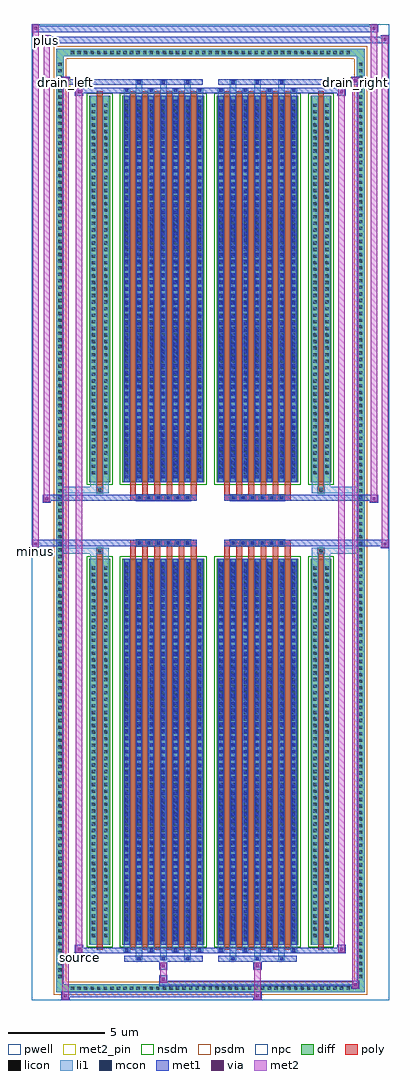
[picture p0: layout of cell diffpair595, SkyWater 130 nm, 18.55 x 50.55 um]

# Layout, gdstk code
import gdstk
lib = gdstk.Library(unit=1e-6, precision=5e-09)
def R(c, l, rs):  # rectangles x0, y0, x1, y1
    for r in rs: c.add(gdstk.rectangle(r[:2], r[2:], *l))
def A(c, l, x, y, w, h, nx, ny, dx, dy):  # array of equal rectangles
    R(c, l, [(x+i*dx, y+j*dy, x+i*dx+w, y+j*dy+h) for i in range(nx) for j in range(ny)])
def P(c, l, *ps):  # polygons
    for p in ps: c.add(gdstk.Polygon(p, *l))
pwell = (64, 44)
diff = (65, 20)
poly = (66, 20)
licon = (66, 44)
li1 = (67, 20)
mcon = (67, 44)
met1 = (68, 20)
via = (68, 44)
met2_pin = (69, 16)
met2 = (69, 20)
nsdm = (93, 44)
psdm = (94, 20)
npc = (95, 20)

diffpair595 = lib.new_cell('diffpair595')
R(diffpair595, pwell, [(-9.26,-24.84,9.26,25.71), (-6.58,-23.03,-0.01,-0.805), (0.01,-23.03,6.58,-0.805), (-6.58,0.805,-0.01,23.03), (0.01,0.805,6.58,23.03)])
A(diffpair595, diff, -7.345, -24.44, 0.41, 0.41, 43, 2, 0.34, 48.47)
A(diffpair595, diff, -7.99, -23.835, 0.41, 0.41, 1, 140, 0, 0.34)
A(diffpair595, diff, 7.58, -23.835, 0.41, 0.41, 1, 140, 0, 0.34)
R(diffpair595, diff, [(-7.345,-24.44,7.345,-24.03), (-7.99,-23.835,-7.58,23.835), (7.58,-23.835,7.99,23.835), (-6.27,-21.985,-5.19,-1.985), (-4.55,-21.985,-0.32,-1.985), (0.32,-21.985,4.55,-1.985), (5.19,-21.985,6.27,-1.985), (-6.27,1.985,-5.19,21.985), (-4.55,1.985,-0.32,21.985), (0.32,1.985,4.55,21.985), (5.19,1.985,6.27,21.985), (-7.345,24.03,7.345,24.44)])
P(diffpair595, diff, [(7.99,24.44),(-7.99,24.44),(-7.99,-24.03),(-7.58,-24.03),(-7.58,24.03),(7.58,24.03),(7.58,-24.03),(-7.58,-24.03),(-7.99,-24.03),(-7.99,-24.44),(7.99,-24.44)])
A(diffpair595, poly, -4.16, -22.235, 0.3, 20.5, 6, 2, 0.63, 23.97)
A(diffpair595, poly, 0.71, -22.235, 0.3, 20.5, 6, 2, 0.63, 23.97)
A(diffpair595, poly, -4.16, -1.735, 0.3, 0.4, 6, 2, 0.63, 3.07)
A(diffpair595, poly, 0.71, -1.735, 0.3, 0.4, 6, 2, 0.63, 3.07)
A(diffpair595, poly, -3.85, -1.335, 0.33, 0.33, 6, 2, 0.5, 2.34)
A(diffpair595, poly, 1.02, -1.335, 0.33, 0.33, 6, 2, 0.5, 2.34)
R(diffpair595, poly, [(-5.88,-22.235,-5.58,-1.735), (5.58,-22.235,5.88,-1.735), (-5.895,-1.735,-5.565,-1.405), (-5.895,-1.735,-5.565,-1.405), (5.565,-1.735,5.895,-1.405), (5.565,-1.735,5.895,-1.405), (-4.16,-1.335,-0.71,-1.005), (0.71,-1.335,4.16,-1.005), (-4.16,1.005,-0.71,1.335), (0.71,1.005,4.16,1.335), (-5.895,1.405,-5.565,1.735), (-5.895,1.405,-5.565,1.735), (5.565,1.405,5.895,1.735), (5.565,1.405,5.895,1.735), (-5.88,1.735,-5.58,22.235), (5.58,1.735,5.88,22.235)])
A(diffpair595, licon, -7.225, -24.32, 0.17, 0.17, 43, 2, 0.34, 48.47)
A(diffpair595, licon, -7.87, -23.715, 0.17, 0.17, 1, 140, 0, 0.34)
A(diffpair595, licon, 7.7, -23.715, 0.17, 0.17, 1, 140, 0, 0.34)
A(diffpair595, licon, -6.13, -21.59, 0.17, 0.17, 1, 57, 0, 0.34)
A(diffpair595, licon, -5.5, -21.59, 0.17, 0.17, 1, 57, 0, 0.34)
A(diffpair595, licon, -4.41, -21.59, 0.17, 0.17, 7, 57, 0.63, 0.34)
A(diffpair595, licon, 0.46, -21.59, 0.17, 0.17, 7, 57, 0.63, 0.34)
A(diffpair595, licon, 5.33, -21.59, 0.17, 0.17, 1, 57, 0, 0.34)
A(diffpair595, licon, 5.96, -21.59, 0.17, 0.17, 1, 57, 0, 0.34)
A(diffpair595, licon, -3.77, -1.255, 0.17, 0.17, 6, 2, 0.5, 2.34)
A(diffpair595, licon, 1.1, -1.255, 0.17, 0.17, 6, 2, 0.5, 2.34)
A(diffpair595, licon, -6.13, 2.38, 0.17, 0.17, 1, 57, 0, 0.34)
A(diffpair595, licon, -5.5, 2.38, 0.17, 0.17, 1, 57, 0, 0.34)
A(diffpair595, licon, -4.41, 2.38, 0.17, 0.17, 7, 57, 0.63, 0.34)
A(diffpair595, licon, 0.46, 2.38, 0.17, 0.17, 7, 57, 0.63, 0.34)
A(diffpair595, licon, 5.33, 2.38, 0.17, 0.17, 1, 57, 0, 0.34)
A(diffpair595, licon, 5.96, 2.38, 0.17, 0.17, 1, 57, 0, 0.34)
R(diffpair595, licon, [(-5.815,-1.655,-5.645,-1.485), (5.645,-1.655,5.815,-1.485), (-5.815,1.485,-5.645,1.655), (5.645,1.485,5.815,1.655)])
A(diffpair595, li1, -7.305, -24.4, 0.33, 0.33, 43, 2, 0.34, 48.47)
A(diffpair595, li1, -7.95, -23.795, 0.33, 0.33, 1, 140, 0, 0.34)
A(diffpair595, li1, 7.62, -23.795, 0.33, 0.33, 1, 140, 0, 0.34)
A(diffpair595, li1, -3.86, -22.79, 0.33, 0.805, 3, 2, 1.26, 44.775)
A(diffpair595, li1, -3.78, -22.79, 0.17, 0.17, 3, 2, 1.26, 45.41)
A(diffpair595, li1, 1.01, -22.79, 0.33, 0.805, 3, 2, 1.26, 44.775)
A(diffpair595, li1, 1.09, -22.79, 0.17, 0.17, 3, 2, 1.26, 45.41)
A(diffpair595, li1, -4.49, -22.36, 0.33, 0.375, 4, 2, 1.26, 44.345)
A(diffpair595, li1, -4.41, -22.36, 0.17, 0.17, 4, 2, 1.26, 44.55)
A(diffpair595, li1, 0.38, -22.36, 0.33, 0.375, 4, 2, 1.26, 44.345)
A(diffpair595, li1, 0.46, -22.36, 0.17, 0.17, 4, 2, 1.26, 44.55)
A(diffpair595, li1, -4.49, -21.985, 0.33, 20, 7, 2, 0.63, 23.97)
A(diffpair595, li1, 0.38, -21.985, 0.33, 20, 7, 2, 0.63, 23.97)
A(diffpair595, li1, -4.41, -21.79, 0.17, 0.17, 7, 55, 0.63, 0.36)
A(diffpair595, li1, -4.41, -21.79, 0.17, 19.61, 7, 2, 0.63, 23.97)
A(diffpair595, li1, 0.46, -21.79, 0.17, 0.17, 7, 55, 0.63, 0.36)
A(diffpair595, li1, 0.46, -21.79, 0.17, 19.61, 7, 2, 0.63, 23.97)
A(diffpair595, li1, -6.21, -21.67, 0.33, 0.33, 1, 57, 0, 0.34)
A(diffpair595, li1, -5.58, -21.67, 0.33, 0.33, 1, 57, 0, 0.34)
A(diffpair595, li1, -4.49, -21.67, 0.33, 0.33, 7, 57, 0.63, 0.34)
A(diffpair595, li1, 0.38, -21.67, 0.33, 0.33, 7, 57, 0.63, 0.34)
A(diffpair595, li1, 5.25, -21.67, 0.33, 0.33, 1, 57, 0, 0.34)
A(diffpair595, li1, 5.88, -21.67, 0.33, 0.33, 1, 57, 0, 0.34)
A(diffpair595, li1, -3.85, -1.335, 0.33, 0.33, 6, 2, 0.5, 2.34)
A(diffpair595, li1, 1.02, -1.335, 0.33, 0.33, 6, 2, 0.5, 2.34)
A(diffpair595, li1, -4.41, 2.18, 0.17, 0.17, 7, 55, 0.63, 0.36)
A(diffpair595, li1, 0.46, 2.18, 0.17, 0.17, 7, 55, 0.63, 0.36)
A(diffpair595, li1, -6.21, 2.3, 0.33, 0.33, 1, 57, 0, 0.34)
A(diffpair595, li1, -5.58, 2.3, 0.33, 0.33, 1, 57, 0, 0.34)
A(diffpair595, li1, -4.49, 2.3, 0.33, 0.33, 7, 57, 0.63, 0.34)
A(diffpair595, li1, 0.38, 2.3, 0.33, 0.33, 7, 57, 0.63, 0.34)
A(diffpair595, li1, 5.25, 2.3, 0.33, 0.33, 1, 57, 0, 0.34)
A(diffpair595, li1, 5.88, 2.3, 0.33, 0.33, 1, 57, 0, 0.34)
R(diffpair595, li1, [(-7.99,-24.44,-7.58,-24.03), (-7.99,-24.44,-7.58,-24.03), (-7.58,-24.44,7.58,-24.03), (7.58,-24.44,7.99,-24.03), (7.58,-24.44,7.99,-24.03), (-7.99,-24.03,-7.58,24.03), (7.58,-24.03,7.99,24.03), (-6.21,-21.985,-5.88,-1.985), (-5.58,-21.985,-5.25,-1.985), (5.25,-21.985,5.58,-1.985), (5.88,-21.985,6.21,-1.985), (-6.21,-1.985,-5.88,-1.405), (-5.58,-1.985,-5.25,-1.405), (5.25,-1.985,5.58,-1.405), (5.88,-1.985,6.21,-1.405), (-7.99,-1.735,-5.895,-1.405), (-6.21,-1.735,-5.895,-1.405), (-5.895,-1.735,-5.565,-1.405), (-5.565,-1.735,-5.25,-1.405), (5.25,-1.735,5.565,-1.405), (5.565,-1.735,5.895,-1.405), (5.565,-1.735,7.99,-1.405), (5.895,-1.735,6.21,-1.405), (-7.99,1.405,-5.895,1.735), (-6.21,1.405,-5.895,1.735), (-6.21,1.405,-5.88,1.985), (-5.895,1.405,-5.565,1.735), (-5.58,1.405,-5.25,1.985), (-5.565,1.405,-5.25,1.735), (5.25,1.405,5.565,1.735), (5.25,1.405,5.58,1.985), (5.565,1.405,5.895,1.735), (5.565,1.405,7.99,1.735), (5.88,1.405,6.21,1.985), (5.895,1.405,6.21,1.735), (-6.21,1.985,-5.88,21.985), (-5.58,1.985,-5.25,21.985), (5.25,1.985,5.58,21.985), (5.88,1.985,6.21,21.985), (-7.99,24.03,-7.58,24.44), (-7.99,24.03,-7.58,24.44), (-7.58,24.03,7.58,24.44), (7.58,24.03,7.99,24.44), (7.58,24.03,7.99,24.44)])
A(diffpair595, mcon, -3.78, -22.79, 0.17, 0.17, 3, 2, 1.26, 45.41)
A(diffpair595, mcon, 1.09, -22.79, 0.17, 0.17, 3, 2, 1.26, 45.41)
A(diffpair595, mcon, -4.41, -22.36, 0.17, 0.17, 4, 2, 1.26, 44.55)
A(diffpair595, mcon, 0.46, -22.36, 0.17, 0.17, 4, 2, 1.26, 44.55)
A(diffpair595, mcon, -4.41, -21.79, 0.17, 0.17, 7, 55, 0.63, 0.36)
A(diffpair595, mcon, 0.46, -21.79, 0.17, 0.17, 7, 55, 0.63, 0.36)
A(diffpair595, mcon, -3.77, -1.255, 0.17, 0.17, 6, 2, 0.5, 2.34)
A(diffpair595, mcon, 1.1, -1.255, 0.17, 0.17, 6, 2, 0.5, 2.34)
A(diffpair595, mcon, -4.41, 2.18, 0.17, 0.17, 7, 55, 0.63, 0.36)
A(diffpair595, mcon, 0.46, 2.18, 0.17, 0.17, 7, 55, 0.63, 0.36)
A(diffpair595, met1, -3.84, -22.85, 0.29, 0.29, 3, 2, 1.26, 45.41)
A(diffpair595, met1, 1.03, -22.85, 0.29, 0.29, 3, 2, 1.26, 45.41)
A(diffpair595, met1, -4.47, -22.42, 0.29, 0.29, 4, 2, 1.26, 44.55)
A(diffpair595, met1, 0.4, -22.42, 0.29, 0.29, 4, 2, 1.26, 44.55)
A(diffpair595, met1, -4.47, -21.985, 0.29, 20, 7, 2, 0.63, 23.97)
A(diffpair595, met1, 0.4, -21.985, 0.29, 20, 7, 2, 0.63, 23.97)
A(diffpair595, met1, -4.47, -21.85, 0.29, 0.29, 7, 55, 0.63, 0.36)
A(diffpair595, met1, 0.4, -21.85, 0.29, 0.29, 7, 55, 0.63, 0.36)
A(diffpair595, met1, -3.83, -1.315, 0.29, 0.29, 6, 2, 0.5, 2.34)
A(diffpair595, met1, 1.04, -1.315, 0.29, 0.29, 6, 2, 0.5, 2.34)
A(diffpair595, met1, -4.47, 2.12, 0.29, 0.29, 7, 55, 0.63, 0.36)
A(diffpair595, met1, 0.4, 2.12, 0.29, 0.29, 7, 55, 0.63, 0.36)
R(diffpair595, met1, [(-7.72,-24.84,-7.29,-24.41), (2.22,-24.84,2.65,-24.41), (-7.72,-24.7,2.65,-24.41), (7.29,-24.27,7.72,-23.84), (-2.65,-24.13,7.72,-23.84), (-2.65,-23.99,-2.22,-23.56), (-2.65,-23.28,-2.22,-22.85), (2.22,-23.28,2.65,-22.85), (-4.47,-22.85,-0.4,-22.56), (0.4,-22.85,4.47,-22.56), (-7.01,-22.42,-6.58,-21.99), (-7.01,-22.42,-4.47,-22.13), (-4.47,-22.42,-0.4,-22.13), (-0.4,-22.42,0.4,-22.13), (0.4,-22.42,4.47,-22.13), (4.47,-22.42,7.01,-22.13), (6.58,-22.42,7.01,-21.99), (-9.26,-1.435,-8.83,-1.005), (8.83,-1.435,9.26,-1.005), (-9.26,-1.335,-0.71,-1.005), (-4.16,-1.335,-0.71,-1.005), (0.71,-1.335,4.16,-1.005), (0.71,-1.335,9.26,-1.005), (-8.69,0.905,-8.26,1.335), (8.26,0.905,8.69,1.335), (-8.69,1.005,-4.16,1.335), (-4.16,1.005,-0.71,1.335), (0.71,1.005,4.16,1.335), (4.16,1.005,8.69,1.335), (-7.01,21.99,-6.58,22.42), (6.58,21.99,7.01,22.42), (-7.01,22.13,-4.47,22.42), (-4.47,22.13,-0.4,22.42), (-0.4,22.13,0.4,22.42), (0.4,22.13,4.47,22.42), (4.47,22.13,7.01,22.42), (-7.72,22.56,-7.29,22.99), (-7.72,22.56,-4.47,22.85), (-4.47,22.56,-0.4,22.85), (0.4,22.56,4.47,22.85), (4.47,22.56,7.72,22.85), (7.29,22.56,7.72,22.99), (-8.69,24.71,-8.26,25.14), (-8.69,24.71,-6.58,25.04), (-6.58,24.71,6.58,25.04), (6.58,24.71,9.26,25.04), (8.83,24.71,9.26,25.14), (-9.26,25.28,-8.83,25.71), (-9.26,25.28,-6.58,25.61), (-6.58,25.28,6.58,25.61), (6.58,25.28,8.69,25.61), (8.26,25.28,8.69,25.71)])
R(diffpair595, via, [(-7.58,-24.7,-7.43,-24.55), (2.36,-24.7,2.51,-24.55), (7.43,-24.13,7.58,-23.98), (-2.51,-23.85,-2.36,-23.7), (-2.51,-23.14,-2.36,-22.99), (2.36,-23.14,2.51,-22.99), (-6.87,-22.28,-6.72,-22.13), (6.72,-22.28,6.87,-22.13), (-9.12,-1.295,-8.97,-1.145), (8.97,-1.295,9.12,-1.145), (-8.55,1.045,-8.4,1.195), (8.4,1.045,8.55,1.195), (-6.87,22.13,-6.72,22.28), (6.72,22.13,6.87,22.28), (-7.58,22.7,-7.43,22.85), (7.43,22.7,7.58,22.85), (-8.55,24.85,-8.4,25), (8.97,24.85,9.12,25), (-9.12,25.42,-8.97,25.57), (8.4,25.42,8.55,25.57)])
R(diffpair595, met2_pin, [(-7.045,-22.87,-6.545,-22.37), (-9.295,-1.885,-8.795,-1.385), (-7.755,22.44,-7.255,22.94), (7.255,22.44,7.755,22.94), (-8.725,24.59,-8.225,25.09)])
R(diffpair595, met2, [(-7.67,-24.79,-7.34,-24.46), (-7.67,-24.79,-7.34,22.94), (2.27,-24.79,2.6,-24.46), (2.27,-24.46,2.6,-23.23), (7.34,-24.22,7.67,-23.89), (7.34,-24.22,7.67,22.94), (-2.6,-23.94,-2.27,-23.61), (-2.6,-23.61,-2.27,-23.23), (-2.6,-23.23,-2.27,-22.9), (2.27,-23.23,2.6,-22.9), (-6.96,-22.37,-6.63,-22.04), (-6.96,-22.37,-6.63,22.37), (6.63,-22.37,6.96,-22.04), (6.63,-22.37,6.96,22.37), (-9.21,-1.385,-8.88,-1.055), (-9.21,-1.385,-8.88,25.66), (8.88,-1.385,9.21,-1.055), (8.88,-1.385,9.21,25.09), (-8.64,0.955,-8.31,1.285), (-8.64,0.955,-8.31,25.09), (8.31,0.955,8.64,1.285), (8.31,0.955,8.64,25.66), (-6.96,22.04,-6.63,22.37), (6.63,22.04,6.96,22.37), (-7.67,22.61,-7.34,22.94), (7.34,22.61,7.67,22.94), (-8.64,24.76,-8.31,25.09), (8.88,24.76,9.21,25.09), (-9.21,25.33,-8.88,25.66), (8.31,25.33,8.64,25.66)])
P(diffpair595, met2, [(9.21,-1.385),(9.21,-1.385),(9.21,-1.055),(9.21,-1.055)],
  [(9.21,24.76),(9.21,24.76),(9.21,25.09),(9.21,25.09)],
  [(-8.88,-1.385),(-8.88,-1.385),(-8.88,-1.055),(-8.88,-1.055)],
  [(-8.88,25.33),(-8.88,25.33),(-8.88,25.66),(-8.88,25.66)],
  [(8.64,0.955),(8.64,0.955),(8.64,1.285),(8.64,1.285)],
  [(8.64,25.33),(8.64,25.33),(8.64,25.66),(8.64,25.66)],
  [(-8.31,0.955),(-8.31,0.955),(-8.31,1.285),(-8.31,1.285)],
  [(-8.31,24.76),(-8.31,24.76),(-8.31,25.09),(-8.31,25.09)],
  [(-7.34,-24.79),(-7.34,-24.79),(-7.34,-24.46),(-7.34,-24.46)],
  [(-7.34,22.61),(-7.34,22.61),(-7.34,22.94),(-7.34,22.94)],
  [(7.67,-24.22),(7.67,-24.22),(7.67,-23.89),(7.67,-23.89)],
  [(7.67,22.61),(7.67,22.61),(7.67,22.94),(7.67,22.94)],
  [(-6.63,-22.37),(-6.63,-22.37),(-6.63,-22.04),(-6.63,-22.04)],
  [(-6.63,22.04),(-6.63,22.04),(-6.63,22.37),(-6.63,22.37)],
  [(6.96,-22.37),(6.96,-22.37),(6.96,-22.04),(6.96,-22.04)],
  [(6.96,22.04),(6.96,22.04),(6.96,22.37),(6.96,22.37)])
R(diffpair595, nsdm, [(-6.4,-22.115,-5.06,-1.855), (-4.68,-22.115,-0.19,-1.855), (0.19,-22.115,4.68,-1.855), (5.06,-22.115,6.4,-1.855), (-6.4,1.855,-5.06,22.115), (-4.68,1.855,-0.19,22.115), (0.19,1.855,4.68,22.115), (5.06,1.855,6.4,22.115)])
P(diffpair595, psdm, [(8.12,24.57),(-8.12,24.57),(-8.12,-23.9),(-7.45,-23.9),(-7.45,23.9),(7.45,23.9),(7.45,-23.9),(-7.45,-23.9),(-8.12,-23.9),(-8.12,-24.57),(8.12,-24.57)])
A(diffpair595, npc, -3.87, -1.355, 0.37, 0.37, 6, 2, 0.5, 2.34)
A(diffpair595, npc, 1, -1.355, 0.37, 0.37, 6, 2, 0.5, 2.34)
R(diffpair595, npc, [(-5.915,-1.755,-5.545,-1.385), (5.545,-1.755,5.915,-1.385), (-3.87,-1.355,-3,-0.985), (-3.87,-1.355,-3,-0.985), (-3.37,-1.355,-2.5,-0.985), (-3.37,-1.355,-2.5,-0.985), (-2.87,-1.355,-2,-0.985), (-2.87,-1.355,-2,-0.985), (-2.37,-1.355,-1.5,-0.985), (-2.37,-1.355,-1.5,-0.985), (-1.87,-1.355,-1,-0.985), (-1.87,-1.355,-1,-0.985), (1,-1.355,1.87,-0.985), (1,-1.355,1.87,-0.985), (1.5,-1.355,2.37,-0.985), (1.5,-1.355,2.37,-0.985), (2,-1.355,2.87,-0.985), (2,-1.355,2.87,-0.985), (2.5,-1.355,3.37,-0.985), (2.5,-1.355,3.37,-0.985), (3,-1.355,3.87,-0.985), (3,-1.355,3.87,-0.985), (-3.87,0.985,-3,1.355), (-3.87,0.985,-3,1.355), (-3.37,0.985,-2.5,1.355), (-3.37,0.985,-2.5,1.355), (-2.87,0.985,-2,1.355), (-2.87,0.985,-2,1.355), (-2.37,0.985,-1.5,1.355), (-2.37,0.985,-1.5,1.355), (-1.87,0.985,-1,1.355), (-1.87,0.985,-1,1.355), (1,0.985,1.87,1.355), (1,0.985,1.87,1.355), (1.5,0.985,2.37,1.355), (1.5,0.985,2.37,1.355), (2,0.985,2.87,1.355), (2,0.985,2.87,1.355), (2.5,0.985,3.37,1.355), (2.5,0.985,3.37,1.355), (3,0.985,3.87,1.355), (3,0.985,3.87,1.355), (-5.915,1.385,-5.545,1.755), (5.545,1.385,5.915,1.755)])
diffpair595.add(gdstk.Label('minus', (-9.045,-1.635), layer=69, texttype=5))
diffpair595.add(gdstk.Label('drain_right', (7.505,22.69), layer=69, texttype=5))
diffpair595.add(gdstk.Label('drain_left', (-7.505,22.69), layer=69, texttype=5))
diffpair595.add(gdstk.Label('source', (-6.795,-22.62), layer=69, texttype=5))
diffpair595.add(gdstk.Label('plus', (-8.475,24.84), layer=69, texttype=5))

lib.write_gds('diffpair595.gds')
